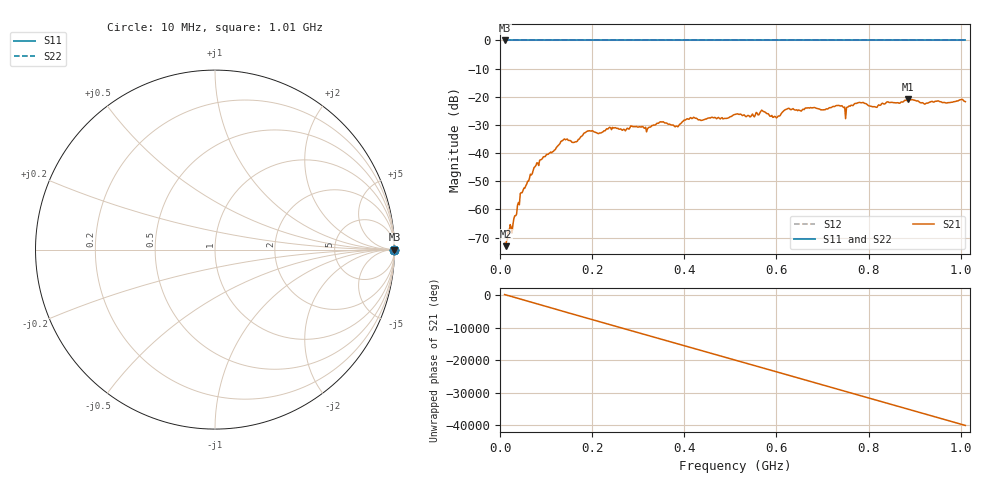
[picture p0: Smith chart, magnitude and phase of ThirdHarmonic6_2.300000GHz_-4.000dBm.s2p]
! 8/17/2025 3:06:54 AM
! C:\ANRITSUVNA\TEMP\TEMP.S2P
! CHANNEL.1
! TR.MEASUREMENT
! RAW.DATA
! RF.CORRECTION.OFF
! AVERAGING.OFF
! IF.BANDWIDTH: 5KHZ
! SWEEPTYPE:  FREQ.SWEEP(Linear)
! Reference Plane Port Info
! PORT:  PORT1  PORT2
! DISTANCE:  0  m  0  m
! TIME:  0  s  0  s
! PHASE.OFFSET:  0  deg.  0  deg.
! LOSS:  0  dB  0  dB
! REF.LOSS:  0  dB  0  dB
! REF.FREQ:  0  Hz  0  Hz
! Power Info
! POWER:  -20  dBm  -20  dBm
! EFF.POWER:  -20  dBm  -20  dBm
! SOURCE.ATTEN:  0  dB  0  dB
! TEST.ATTEN:  0  dB  0  dB
# GHZ S RI R 50.0
! FREQ.GHZ  S11RE  S11IM  S21RE  S21IM  S12RE  S12IM  S22RE  S22IM
!; PortSelection: Port_12
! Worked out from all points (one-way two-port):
!   501 points, 10 MHz to 1.01 GHz, reference 50 ohm
!   highest |S21| = -20.86 dB at 886 MHz (marker M1); lowest = -73.1 dB at 12 MHz (marker M2)
!   lowest |S11| = 0.0 dB at 10 MHz (marker M3)
!   |S11| at or under -10 dB: nowhere
!   |S22| runs from 0.0 to 0.0 dB; largest |S21 - S12| = 1.1
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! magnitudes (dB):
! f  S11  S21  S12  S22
! 10 MHz  0.0  -72.1  0.0  0.0
! 12 MHz  0.0  -73.1  0.0  0.0
! 30 MHz  0.0  -63.3  0.0  0.0
! 48 MHz  0.0  -54.1  0.0  0.0
! 78 MHz  0.0  -44.4  0.0  0.0
! 136 MHz  0.0  -35.5  0.0  0.0
! 162 MHz  0.0  -36.1  0.0  0.0
! 178 MHz  0.0  -33.9  0.0  0.0
! 344 MHz  0.0  -29.4  0.0  0.0
! 382 MHz  0.0  -30.5  0.0  0.0
! 416 MHz  0.0  -27.7  0.0  0.0
! 510 MHz  0.0  -26.3  0.0  0.0
! 570 MHz  0.0  -25.0  0.0  0.0
! 598 MHz  0.0  -27.1  0.0  0.0
! 624 MHz  0.0  -24.3  0.0  0.0
! 678 MHz  0.0  -23.9  0.0  0.0
! 750 MHz  0.0  -27.8  0.0  0.0
! 776 MHz  0.0  -22.2  0.0  0.0
! 814 MHz  0.0  -23.6  0.0  0.0
! 844 MHz  0.0  -22.0  0.0  0.0
! 886 MHz  0.0  -20.9  0.0  0.0
! 1.01 GHz  0.0  -21.7  0.0  0.0
